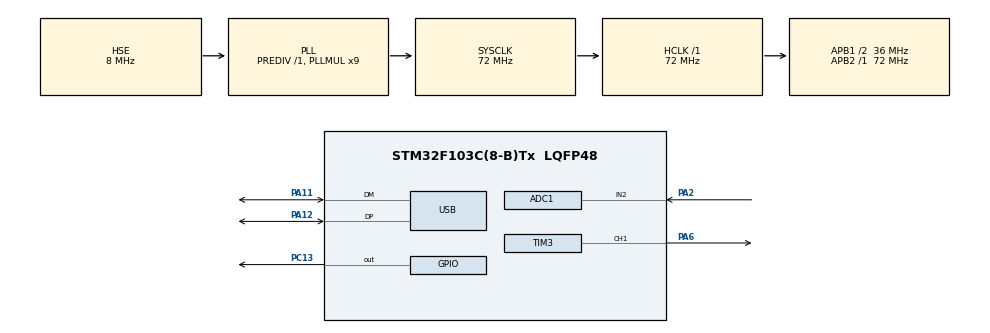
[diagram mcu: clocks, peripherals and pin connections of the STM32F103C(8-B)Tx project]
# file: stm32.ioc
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ADC1.Channel-1\#ChannelRegularConversion=ADC_CHANNEL_2
ADC1.ContinuousConvMode=ENABLE
ADC1.NbrOfConversionFlag=1
ADC1.Rank-1\#ChannelRegularConversion=1
ADC1.SamplingTime-1\#ChannelRegularConversion=ADC_SAMPLETIME_1CYCLE_5
ADC1.master=1
Dma.ADC1.0.Direction=DMA_PERIPH_TO_MEMORY
Dma.ADC1.0.Instance=DMA1_Channel1
Dma.ADC1.0.MemDataAlignment=DMA_MDATAALIGN_HALFWORD
Dma.ADC1.0.MemInc=DMA_MINC_ENABLE
Dma.ADC1.0.Mode=DMA_NORMAL
Dma.ADC1.0.PeriphDataAlignment=DMA_PDATAALIGN_HALFWORD
Dma.ADC1.0.PeriphInc=DMA_PINC_DISABLE
Dma.ADC1.0.Priority=DMA_PRIORITY_LOW
Dma.Request0=ADC1
Dma.Request1=TIM3_CH1/TRIG
Dma.TIM3_CH1/TRIG.1.Direction=DMA_MEMORY_TO_PERIPH
Dma.TIM3_CH1/TRIG.1.Instance=DMA1_Channel6
Dma.TIM3_CH1/TRIG.1.MemDataAlignment=DMA_MDATAALIGN_HALFWORD
Dma.TIM3_CH1/TRIG.1.MemInc=DMA_MINC_ENABLE
Dma.TIM3_CH1/TRIG.1.Mode=DMA_NORMAL
Dma.TIM3_CH1/TRIG.1.PeriphDataAlignment=DMA_PDATAALIGN_HALFWORD
Dma.TIM3_CH1/TRIG.1.PeriphInc=DMA_PINC_DISABLE
Dma.TIM3_CH1/TRIG.1.Priority=DMA_PRIORITY_LOW
FREERTOS.Tasks01=defaultTask,32,128,StartDefaultTask,Default,NULL,Dynamic,NULL,NULL
FREERTOS.configTOTAL_HEAP_SIZE=(1024*4)
Mcu.Family=STM32F1
Mcu.Name=STM32F103C(8-B)Tx
Mcu.Package=LQFP48
NVIC.DMA1_Channel1_IRQn=true\:5\:0\:false\:false\:true\:true\:false\:true\:true
NVIC.DMA1_Channel6_IRQn=true\:5\:0\:false\:false\:true\:true\:false\:true\:true
NVIC.PriorityGroup=NVIC_PRIORITYGROUP_4
NVIC.TIM2_IRQn=true\:15\:0\:false\:false\:true\:false\:false\:true\:true
NVIC.TimeBase=TIM2_IRQn
NVIC.TimeBaseIP=TIM2
NVIC.USB_LP_CAN1_RX0_IRQn=true\:5\:0\:false\:false\:true\:true\:false\:true\:true
PA11.Mode=Device
PA11.Signal=USB_DM
PA12.Mode=Device
PA12.Signal=USB_DP
PA13.Mode=Serial_Wire
PA13.Signal=SYS_JTMS-SWDIO
PA14.Mode=Serial_Wire
PA14.Signal=SYS_JTCK-SWCLK
PA2.Signal=ADCx_IN2
PA6.Signal=S_TIM3_CH1
PC13-TAMPER-RTC.Signal=GPIO_Output
PD0-OSC_IN.Mode=HSE-External-Oscillator
PD0-OSC_IN.Signal=RCC_OSC_IN
PD1-OSC_OUT.Mode=HSE-External-Oscillator
PD1-OSC_OUT.Signal=RCC_OSC_OUT
ProjectManager.HeapSize=0x200
ProjectManager.StackSize=0x400
ProjectManager.TargetToolchain=CMake
RCC.ADCPresc=RCC_ADCPCLK2_DIV6
RCC.AHBFreq_Value=72000000
RCC.APB1CLKDivider=RCC_HCLK_DIV2
RCC.APB1Freq_Value=36000000
RCC.APB1TimFreq_Value=72000000
RCC.APB2Freq_Value=72000000
RCC.APB2TimFreq_Value=72000000
RCC.HCLKFreq_Value=72000000
RCC.PLLMUL=RCC_PLL_MUL9
RCC.PLLSourceVirtual=RCC_PLLSOURCE_HSE
RCC.SYSCLKFreq_VALUE=72000000
RCC.SYSCLKSource=RCC_SYSCLKSOURCE_PLLCLK
RCC.USBFreq_Value=48000000
RCC.USBPrescaler=RCC_USBCLKSOURCE_PLL_DIV1_5
SH.ADCx_IN2.0=ADC1_IN2,IN2
SH.S_TIM3_CH1.0=TIM3_CH1,PWM Generation1 CH1
TIM3.AutoReloadPreload=TIM_AUTORELOAD_PRELOAD_ENABLE
TIM3.Channel-PWM\ Generation1\ CH1=TIM_CHANNEL_1
TIM3.Period=(108-1)
USB_DEVICE.CLASS_NAME_FS=CDC
USB_DEVICE.VirtualMode=Cdc
USB_DEVICE.VirtualModeFS=Cdc_FS
VP_FREERTOS_VS_CMSIS_V2.Mode=CMSIS_V2
VP_SYS_VS_tim2.Mode=TIM2
VP_USB_DEVICE_VS_USB_DEVICE_CDC_FS.Mode=CDC_FS
board=custom

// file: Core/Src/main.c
/* USER CODE BEGIN Header */
/**
 ******************************************************************************
 * @file           : main.c
 * @brief          : Main program body
 ******************************************************************************
 * @attention
 *
 * Copyright (c) 2025 STMicroelectronics.
 * All rights reserved.
 *
 * This software is licensed under terms that can be found in the LICENSE file
 * in the root directory of this software component.
 * If no LICENSE file comes with this software, it is provided AS-IS.
 *
 ******************************************************************************
 */
/* USER CODE END Header */
#include "main.h"
#include "cmsis_os.h"
#include "usb_device.h"

/* USER CODE BEGIN Includes */

#include "cs_tasks.h"

/* USER CODE END Includes */

/* USER CODE BEGIN PD */

// default priority for tasks (matches the priority used by the default task)
#define CS_DEFAULT_PRIORITY (osPriorityNormal)

/* USER CODE END PD */

ADC_HandleTypeDef hadc1;
DMA_HandleTypeDef hdma_adc1;

TIM_HandleTypeDef htim3;
DMA_HandleTypeDef hdma_tim3_ch1_trig;

/* Definitions for defaultTask */
osThreadId_t defaultTaskHandle;
const osThreadAttr_t defaultTask_attributes = {
    .name = "defaultTask",
    .stack_size = 128 * 4,
    .priority = (osPriority_t)osPriorityAboveNormal,
};

void SystemClock_Config(void);
static void MX_GPIO_Init(void);
static void MX_DMA_Init(void);
static void MX_ADC1_Init(void);
static void MX_TIM3_Init(void);
void StartDefaultTask(void *argument);

/* USER CODE BEGIN 0 */
void HAL_ADC_ConvCpltCallback(ADC_HandleTypeDef *hadc)
{
    (void)hadc;
    BaseType_t higherPriorityTaskWoken = pdFALSE;

    vTaskNotifyGiveFromISR(task_handle_usb_receiver, &higherPriorityTaskWoken);

    portYIELD_FROM_ISR(higherPriorityTaskWoken);
}

void HAL_TIM_PWM_PulseFinishedCallback(TIM_HandleTypeDef *htim)
{
    (void)htim;
    BaseType_t higherPriorityTaskWoken = pdFALSE;

    vTaskNotifyGiveFromISR(task_handle_usb_receiver, &higherPriorityTaskWoken);

    portYIELD_FROM_ISR(higherPriorityTaskWoken);
}

void toggle_led()
{
    HAL_GPIO_TogglePin(GPIOC, GPIO_PIN_13);
}

/* USER CODE END 0 */

int main(void)
{

    /* MCU Configuration--------------------------------------------------------*/

    /* Reset of all peripherals, Initializes the Flash interface and the Systick. */
    HAL_Init();

    /* Configure the system clock */
    SystemClock_Config();

    /* Initialize all configured peripherals */
    MX_GPIO_Init();
    MX_DMA_Init();
    MX_ADC1_Init();
    MX_TIM3_Init();

    /* Init scheduler */
    osKernelInitialize();

    /* Create the thread(s) */
    /* creation of defaultTask */
    defaultTaskHandle = osThreadNew(StartDefaultTask, NULL, &defaultTask_attributes);

    /* USER CODE BEGIN RTOS_THREADS */
    tasks_init();

    BaseType_t created;
    created = xTaskCreate(tasks_usb_sender,
                          "senderTask",
                          configMINIMAL_STACK_SIZE * 2,
                          NULL,
                          CS_DEFAULT_PRIORITY,
                          &task_handle_usb_sender);

    configASSERT(created == pdPASS);

    created = xTaskCreate(tasks_usb_receiver,
                          "recvTask",
                          configMINIMAL_STACK_SIZE * 3,
                          NULL,
                          CS_DEFAULT_PRIORITY,
                          &task_handle_usb_receiver);

    configASSERT(created == pdPASS);
    /* USER CODE END RTOS_THREADS */

    /* Start scheduler */
    osKernelStart();

    /* We should never get here as control is now taken by the scheduler */

    /* Infinite loop */
    while (1)
    {
    }
}

void SystemClock_Config(void)
{
    RCC_OscInitTypeDef RCC_OscInitStruct = {0};
    RCC_ClkInitTypeDef RCC_ClkInitStruct = {0};
    RCC_PeriphCLKInitTypeDef PeriphClkInit = {0};

    /** Initializes the RCC Oscillators according to the specified parameters
     * in the RCC_OscInitTypeDef structure.
     */
    RCC_OscInitStruct.OscillatorType = RCC_OSCILLATORTYPE_HSE;
    RCC_OscInitStruct.HSEState = RCC_HSE_ON;
    RCC_OscInitStruct.HSEPredivValue = RCC_HSE_PREDIV_DIV1;
    RCC_OscInitStruct.HSIState = RCC_HSI_ON;
    RCC_OscInitStruct.PLL.PLLState = RCC_PLL_ON;
    RCC_OscInitStruct.PLL.PLLSource = RCC_PLLSOURCE_HSE;
    RCC_OscInitStruct.PLL.PLLMUL = RCC_PLL_MUL9;
    if (HAL_RCC_OscConfig(&RCC_OscInitStruct) != HAL_OK)
    {
        Error_Handler();
    }

    /** Initializes the CPU, AHB and APB buses clocks
     */
    RCC_ClkInitStruct.ClockType = RCC_CLOCKTYPE_HCLK | RCC_CLOCKTYPE_SYSCLK | RCC_CLOCKTYPE_PCLK1 | RCC_CLOCKTYPE_PCLK2;
    RCC_ClkInitStruct.SYSCLKSource = RCC_SYSCLKSOURCE_PLLCLK;
    RCC_ClkInitStruct.AHBCLKDivider = RCC_SYSCLK_DIV1;
    RCC_ClkInitStruct.APB1CLKDivider = RCC_HCLK_DIV2;
    RCC_ClkInitStruct.APB2CLKDivider = RCC_HCLK_DIV1;

    if (HAL_RCC_ClockConfig(&RCC_ClkInitStruct, FLASH_LATENCY_2) != HAL_OK)
    {
        Error_Handler();
    }
    PeriphClkInit.PeriphClockSelection = RCC_PERIPHCLK_ADC | RCC_PERIPHCLK_USB;
    PeriphClkInit.AdcClockSelection = RCC_ADCPCLK2_DIV6;
    PeriphClkInit.UsbClockSelection = RCC_USBCLKSOURCE_PLL_DIV1_5;
    if (HAL_RCCEx_PeriphCLKConfig(&PeriphClkInit) != HAL_OK)
    {
        Error_Handler();
    }
}

static void MX_ADC1_Init(void)
{

    ADC_ChannelConfTypeDef sConfig = {0};

    /** Common config
     */
    hadc1.Instance = ADC1;
    hadc1.Init.ScanConvMode = ADC_SCAN_DISABLE;
    hadc1.Init.ContinuousConvMode = ENABLE;
    hadc1.Init.DiscontinuousConvMode = DISABLE;
    hadc1.Init.ExternalTrigConv = ADC_SOFTWARE_START;
    hadc1.Init.DataAlign = ADC_DATAALIGN_RIGHT;
    hadc1.Init.NbrOfConversion = 1;
    if (HAL_ADC_Init(&hadc1) != HAL_OK)
    {
        Error_Handler();
    }

    /** Configure Regular Channel
     */
    sConfig.Channel = ADC_CHANNEL_2;
    sConfig.Rank = ADC_REGULAR_RANK_1;
    sConfig.SamplingTime = ADC_SAMPLETIME_1CYCLE_5;
    if (HAL_ADC_ConfigChannel(&hadc1, &sConfig) != HAL_OK)
    {
        Error_Handler();
    }
}

static void MX_TIM3_Init(void)
{

    TIM_MasterConfigTypeDef sMasterConfig = {0};
    TIM_OC_InitTypeDef sConfigOC = {0};

    htim3.Instance = TIM3;
    htim3.Init.Prescaler = 0;
    htim3.Init.CounterMode = TIM_COUNTERMODE_UP;
    htim3.Init.Period = (108 - 1);
    htim3.Init.ClockDivision = TIM_CLOCKDIVISION_DIV1;
    htim3.Init.AutoReloadPreload = TIM_AUTORELOAD_PRELOAD_ENABLE;
    if (HAL_TIM_PWM_Init(&htim3) != HAL_OK)
    {
        Error_Handler();
    }
    sMasterConfig.MasterOutputTrigger = TIM_TRGO_RESET;
    sMasterConfig.MasterSlaveMode = TIM_MASTERSLAVEMODE_DISABLE;
    if (HAL_TIMEx_MasterConfigSynchronization(&htim3, &sMasterConfig) != HAL_OK)
    {
        Error_Handler();
    }
    sConfigOC.OCMode = TIM_OCMODE_PWM1;
    sConfigOC.Pulse = 0;
    sConfigOC.OCPolarity = TIM_OCPOLARITY_HIGH;
    sConfigOC.OCFastMode = TIM_OCFAST_DISABLE;
    if (HAL_TIM_PWM_ConfigChannel(&htim3, &sConfigOC, TIM_CHANNEL_1) != HAL_OK)
    {
        Error_Handler();
    }
    HAL_TIM_MspPostInit(&htim3);
}

static void MX_DMA_Init(void)
{

    /* DMA controller clock enable */
    __HAL_RCC_DMA1_CLK_ENABLE();

    /* DMA interrupt init */
    /* DMA1_Channel1_IRQn interrupt configuration */
    HAL_NVIC_SetPriority(DMA1_Channel1_IRQn, 5, 0);
    HAL_NVIC_EnableIRQ(DMA1_Channel1_IRQn);
    /* DMA1_Channel6_IRQn interrupt configuration */
    HAL_NVIC_SetPriority(DMA1_Channel6_IRQn, 5, 0);
    HAL_NVIC_EnableIRQ(DMA1_Channel6_IRQn);
}

static void MX_GPIO_Init(void)
{
    GPIO_InitTypeDef GPIO_InitStruct = {0};

    /* GPIO Ports Clock Enable */
    __HAL_RCC_GPIOC_CLK_ENABLE();
    __HAL_RCC_GPIOD_CLK_ENABLE();
    __HAL_RCC_GPIOA_CLK_ENABLE();

    /*Configure GPIO pin Output Level */
    HAL_GPIO_WritePin(GPIOC, GPIO_PIN_13, GPIO_PIN_RESET);

    /*Configure GPIO pin : PC13 */
    GPIO_InitStruct.Pin = GPIO_PIN_13;
    GPIO_InitStruct.Mode = GPIO_MODE_OUTPUT_PP;
    GPIO_InitStruct.Pull = GPIO_NOPULL;
    GPIO_InitStruct.Speed = GPIO_SPEED_FREQ_LOW;
    HAL_GPIO_Init(GPIOC, &GPIO_InitStruct);

}

/* USER CODE BEGIN 4 */

// FreeRTOS hooks/assert hanndler
void vApplicationMallocFailedHook(void)
{
    taskDISABLE_INTERRUPTS();
    for (;;)
        ;
}

void vApplicationStackOverflowHook(TaskHandle_t xTask, char *pcTaskName)
{
    (void)xTask;
    (void)pcTaskName;
    taskDISABLE_INTERRUPTS();
    for (;;)
        ;
}

void vAssertCalled(const char *file, int line)
{
    (void)file;
    (void)line;

    taskDISABLE_INTERRUPTS();
    __BKPT(0); // breakpoint. Lets gdb inspect file and line
    for (;;)
    {
    }
}
/* USER CODE END 4 */

void StartDefaultTask(void *argument)
{
    /* init code for USB_DEVICE */
    MX_USB_DEVICE_Init();
    /* USER CODE BEGIN 5 */
    vTaskDelete(NULL);
    /* USER CODE END 5 */
}

void HAL_TIM_PeriodElapsedCallback(TIM_HandleTypeDef *htim)
{
    if (htim->Instance == TIM2)
    {
        HAL_IncTick();
    }
}

void Error_Handler(void)
{
    __disable_irq();
    while (1)
    {
    }
}
